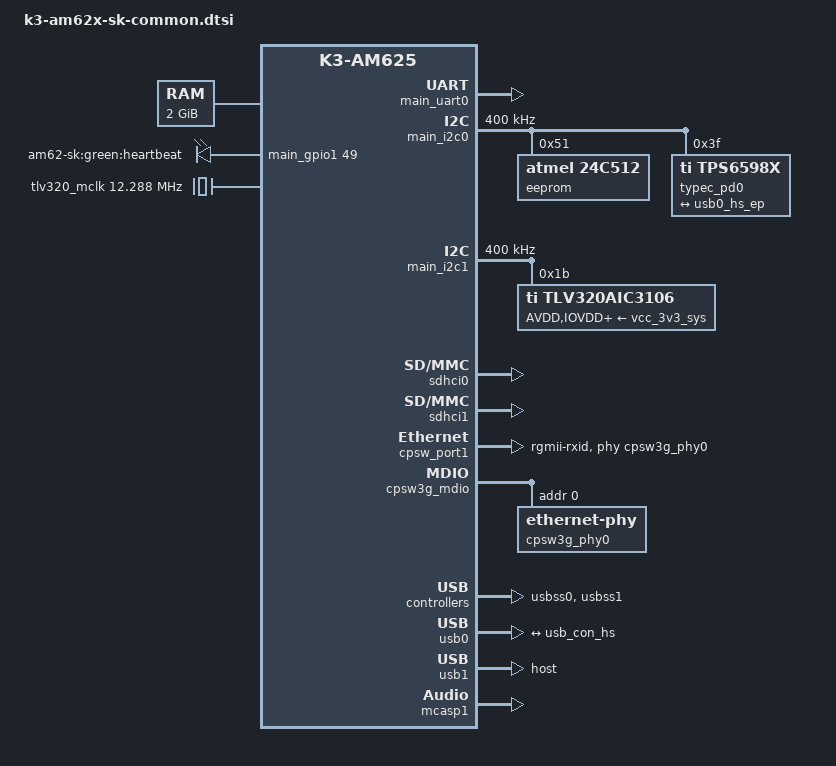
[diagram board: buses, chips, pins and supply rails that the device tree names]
// SPDX-License-Identifier: GPL-2.0
/*
 * Common dtsi for AM62x SK and derivatives
 *
 * Copyright (C) 2021-2023 Texas Instruments Incorporated - https://www.ti.com/
 */

#include <dt-bindings/leds/common.h>
#include <dt-bindings/gpio/gpio.h>
#include <dt-bindings/net/ti-dp83867.h>
#include "k3-am625.dtsi"

/ {
	aliases {
		serial2 = &main_uart0;
		mmc0 = &sdhci0;
		mmc1 = &sdhci1;
		mmc2 = &sdhci2;
		spi0 = &ospi0;
		ethernet0 = &cpsw_port1;
		ethernet1 = &cpsw_port2;
		usb0 = &usb0;
		usb1 = &usb1;
	};

	chosen {
		stdout-path = "serial2:115200n8";
	};

	memory@80000000 {
		device_type = "memory";
		/* 2G RAM */
		reg = <0x00000000 0x80000000 0x00000000 0x80000000>;
	};

	reserved-memory {
		#address-cells = <2>;
		#size-cells = <2>;
		ranges;

		ramoops@9ca00000 {
			compatible = "ramoops";
			reg = <0x00 0x9ca00000 0x00 0x00100000>;
			record-size = <0x8000>;
			console-size = <0x8000>;
			ftrace-size = <0x00>;
			pmsg-size = <0x8000>;
		};

		secure_tfa_ddr: tfa@9e780000 {
			reg = <0x00 0x9e780000 0x00 0x80000>;
			alignment = <0x1000>;
			no-map;
		};

		secure_ddr: optee@9e800000 {
			reg = <0x00 0x9e800000 0x00 0x01800000>; /* for OP-TEE */
			alignment = <0x1000>;
			no-map;
		};

		wkup_r5fss0_core0_dma_memory_region: r5f-dma-memory@9db00000 {
			compatible = "shared-dma-pool";
			reg = <0x00 0x9db00000 0x00 0xc00000>;
			no-map;
		};
	};

	leds {
		compatible = "gpio-leds";
		pinctrl-names = "default";
		pinctrl-0 = <&usr_led_pins_default>;

		led-0 {
			label = "am62-sk:green:heartbeat";
			gpios = <&main_gpio1 49 GPIO_ACTIVE_HIGH>;
			linux,default-trigger = "heartbeat";
			function = LED_FUNCTION_HEARTBEAT;
			default-state = "off";
		};
	};

	tlv320_mclk: clk-0 {
		#clock-cells = <0>;
		compatible = "fixed-clock";
		clock-frequency = <12288000>;
	};

	codec_audio: sound {
		compatible = "simple-audio-card";
		simple-audio-card,name = "AM62x-SKEVM";
		simple-audio-card,widgets =
			"Headphone",	"Headphone Jack",
			"Line",		"Line In",
			"Microphone",	"Microphone Jack";
		simple-audio-card,routing =
			"Headphone Jack",	"HPLOUT",
			"Headphone Jack",	"HPROUT",
			"LINE1L",		"Line In",
			"LINE1R",		"Line In",
			"MIC3R",		"Microphone Jack",
			"Microphone Jack",	"Mic Bias";
		simple-audio-card,format = "dsp_b";
		simple-audio-card,bitclock-master = <&sound_master>;
		simple-audio-card,frame-master = <&sound_master>;
		simple-audio-card,bitclock-inversion;

		simple-audio-card,cpu {
			sound-dai = <&mcasp1>;
		};

		sound_master: simple-audio-card,codec {
			sound-dai = <&tlv320aic3106>;
			clocks = <&tlv320_mclk>;
		};
	};
};

&main_pmx0 {
	/* First pad number is ALW package and second is AMC package */
	main_uart0_pins_default: main-uart0-default-pins {
		pinctrl-single,pins = <
			AM62X_IOPAD(0x1c8, PIN_INPUT, 0) /* (D14/A13) UART0_RXD */
			AM62X_IOPAD(0x1cc, PIN_OUTPUT, 0) /* (E14/E11) UART0_TXD */
		>;
	};

	main_uart1_pins_default: main-uart1-default-pins {
		pinctrl-single,pins = <
			AM62X_IOPAD(0x194, PIN_INPUT, 2) /* (B19/B18) MCASP0_AXR3.UART1_CTSn */
			AM62X_IOPAD(0x198, PIN_OUTPUT, 2) /* (A19/B17) MCASP0_AXR2.UART1_RTSn */
			AM62X_IOPAD(0x1ac, PIN_INPUT, 2) /* (E19/D15) MCASP0_AFSR.UART1_RXD */
			AM62X_IOPAD(0x1b0, PIN_OUTPUT, 2) /* (A20/D16) MCASP0_ACLKR.UART1_TXD */
		>;
	};

	main_i2c0_pins_default: main-i2c0-default-pins {
		pinctrl-single,pins = <
			AM62X_IOPAD(0x1e0, PIN_INPUT_PULLUP, 0) /* (B16/E12) I2C0_SCL */
			AM62X_IOPAD(0x1e4, PIN_INPUT_PULLUP, 0) /* (A16/D14) I2C0_SDA */
		>;
	};

	main_i2c1_pins_default: main-i2c1-default-pins {
		pinctrl-single,pins = <
			AM62X_IOPAD(0x1e8, PIN_INPUT_PULLUP, 0) /* (B17/A17) I2C1_SCL */
			AM62X_IOPAD(0x1ec, PIN_INPUT_PULLUP, 0) /* (A17/A16) I2C1_SDA */
		>;
	};

	main_i2c2_pins_default: main-i2c2-default-pins {
		pinctrl-single,pins = <
			AM62X_IOPAD(0x0b0, PIN_INPUT_PULLUP, 1) /* (K22/H18) GPMC0_CSn2.I2C2_SCL */
			AM62X_IOPAD(0x0b4, PIN_INPUT_PULLUP, 1) /* (K24/H19) GPMC0_CSn3.I2C2_SDA */
		>;
	};

	main_mmc0_pins_default: main-mmc0-default-pins {
		pinctrl-single,pins = <
			AM62X_IOPAD(0x220, PIN_INPUT, 0) /* (Y3/V3) MMC0_CMD */
			AM62X_IOPAD(0x218, PIN_INPUT, 0) /* (AB1/Y1) MMC0_CLK */
			AM62X_IOPAD(0x214, PIN_INPUT, 0) /* (AA2/V2) MMC0_DAT0 */
			AM62X_IOPAD(0x210, PIN_INPUT, 0) /* (AA1/V1) MMC0_DAT1 */
			AM62X_IOPAD(0x20c, PIN_INPUT, 0) /* (AA3/W2) MMC0_DAT2 */
			AM62X_IOPAD(0x208, PIN_INPUT, 0) /* (Y4/W1) MMC0_DAT3 */
			AM62X_IOPAD(0x204, PIN_INPUT, 0) /* (AB2/Y2) MMC0_DAT4 */
			AM62X_IOPAD(0x200, PIN_INPUT, 0) /* (AC1/W3) MMC0_DAT5 */
			AM62X_IOPAD(0x1fc, PIN_INPUT, 0) /* (AD2/W4) MMC0_DAT6 */
			AM62X_IOPAD(0x1f8, PIN_INPUT, 0) /* (AC2/V4) MMC0_DAT7 */
		>;
	};

	main_mmc1_pins_default: main-mmc1-default-pins {
		pinctrl-single,pins = <
			AM62X_IOPAD(0x23c, PIN_INPUT, 0) /* (A21/C18) MMC1_CMD */
			AM62X_IOPAD(0x234, PIN_INPUT, 0) /* (B22/A20) MMC1_CLK */
			AM62X_IOPAD(0x230, PIN_INPUT, 0) /* (A22/A19) MMC1_DAT0 */
			AM62X_IOPAD(0x22c, PIN_INPUT, 0) /* (B21/B19) MMC1_DAT1 */
			AM62X_IOPAD(0x228, PIN_INPUT, 0) /* (C21/B20) MMC1_DAT2 */
			AM62X_IOPAD(0x224, PIN_INPUT, 0) /* (D22/C19) MMC1_DAT3 */
			AM62X_IOPAD(0x240, PIN_INPUT, 0) /* (D17/C15) MMC1_SDCD */
		>;
	};

	usr_led_pins_default: usr-led-default-pins {
		pinctrl-single,pins = <
			AM62X_IOPAD(0x244, PIN_OUTPUT, 7) /* (C17/B15) MMC1_SDWP.GPIO1_49 */
		>;
	};

	main_mdio1_pins_default: main-mdio1-default-pins {
		pinctrl-single,pins = <
			AM62X_IOPAD(0x160, PIN_OUTPUT, 0) /* (AD24/V17) MDIO0_MDC */
			AM62X_IOPAD(0x15c, PIN_INPUT, 0) /* (AB22/U16) MDIO0_MDIO */
		>;
	};

	main_rgmii1_pins_default: main-rgmii1-default-pins {
		pinctrl-single,pins = <
			AM62X_IOPAD(0x14c, PIN_INPUT, 0) /* (AB17/W15) RGMII1_RD0 */
			AM62X_IOPAD(0x150, PIN_INPUT, 0) /* (AC17/Y16) RGMII1_RD1 */
			AM62X_IOPAD(0x154, PIN_INPUT, 0) /* (AB16/AA17) RGMII1_RD2 */
			AM62X_IOPAD(0x158, PIN_INPUT, 0) /* (AA15/Y15) RGMII1_RD3 */
			AM62X_IOPAD(0x148, PIN_INPUT, 0) /* (AD17/AA16) RGMII1_RXC */
			AM62X_IOPAD(0x144, PIN_INPUT, 0) /* (AE17/W14) RGMII1_RX_CTL */
			AM62X_IOPAD(0x134, PIN_OUTPUT, 0) /* (AE20/U14) RGMII1_TD0 */
			AM62X_IOPAD(0x138, PIN_OUTPUT, 0) /* (AD20/AA19) RGMII1_TD1 */
			AM62X_IOPAD(0x13c, PIN_OUTPUT, 0) /* (AE18/Y17) RGMII1_TD2 */
			AM62X_IOPAD(0x140, PIN_OUTPUT, 0) /* (AD18/AA18) RGMII1_TD3 */
			AM62X_IOPAD(0x130, PIN_OUTPUT, 0) /* (AE19/W16) RGMII1_TXC */
			AM62X_IOPAD(0x12c, PIN_OUTPUT, 0) /* (AD19/V15) RGMII1_TX_CTL */
		>;
	};

	main_usb1_pins_default: main-usb1-default-pins {
		pinctrl-single,pins = <
			AM62X_IOPAD(0x0258, PIN_OUTPUT, 0) /* (F18/E16) USB1_DRVVBUS */
		>;
	};

	main_mcasp1_pins_default: main-mcasp1-default-pins {
		pinctrl-single,pins = <
			AM62X_IOPAD(0x090, PIN_INPUT, 2) /* (M24/K17) GPMC0_BE0N_CLE.MCASP1_ACLKX */
			AM62X_IOPAD(0x098, PIN_INPUT, 2) /* (U23/P21) GPMC0_WAIT0.MCASP1_AFSX */
			AM62X_IOPAD(0x08c, PIN_OUTPUT, 2) /* (L25/J17) GPMC0_WEN.MCASP1_AXR0 */
			AM62X_IOPAD(0x084, PIN_INPUT, 2) /* (L23/K20) GPMC0_ADVN_ALE.MCASP1_AXR2 */
		>;
	};
};

&mcu_pmx0 {
	wkup_uart0_pins_default: wkup-uart0-default-pins {
		pinctrl-single,pins = <
			AM62X_MCU_IOPAD(0x02c, PIN_INPUT, 0) /* (C6/A7) WKUP_UART0_CTSn */
			AM62X_MCU_IOPAD(0x030, PIN_OUTPUT, 0) /* (A4/B4) WKUP_UART0_RTSn */
			AM62X_MCU_IOPAD(0x024, PIN_INPUT, 0) /* (B4/B5) WKUP_UART0_RXD */
			AM62X_MCU_IOPAD(0x028, PIN_OUTPUT, 0) /* (C5/C6) WKUP_UART0_TXD */
		>;
	};
};

&wkup_uart0 {
	/* WKUP UART0 is used by DM firmware */
	status = "reserved";
	pinctrl-names = "default";
	pinctrl-0 = <&wkup_uart0_pins_default>;
};

&main_uart0 {
	status = "okay";
	pinctrl-names = "default";
	pinctrl-0 = <&main_uart0_pins_default>;
};

&main_uart1 {
	/* Main UART1 is used by TIFS firmware */
	status = "reserved";
	pinctrl-names = "default";
	pinctrl-0 = <&main_uart1_pins_default>;
};

&main_i2c0 {
	status = "okay";
	pinctrl-names = "default";
	pinctrl-0 = <&main_i2c0_pins_default>;
	clock-frequency = <400000>;

	eeprom@51 {
		/* AT24C512C-MAHM-T or M24512-DFMC6TG */
		compatible = "atmel,24c512";
		reg = <0x51>;
	};

	typec_pd0: tps6598x@3f {
		compatible = "ti,tps6598x";
		reg = <0x3f>;

		connector {
			compatible = "usb-c-connector";
			label = "USB-C";
			self-powered;
			data-role = "dual";
			power-role = "sink";
			ports {
				#address-cells = <1>;
				#size-cells = <0>;

				port@0 {
					reg = <0>;
					usb_con_hs: endpoint {
						remote-endpoint = <&usb0_hs_ep>;
					};
				};
			};
		};
	};
};

&main_i2c1 {
	status = "okay";
	pinctrl-names = "default";
	pinctrl-0 = <&main_i2c1_pins_default>;
	clock-frequency = <400000>;

	tlv320aic3106: audio-codec@1b {
		#sound-dai-cells = <0>;
		compatible = "ti,tlv320aic3106";
		reg = <0x1b>;
		ai3x-micbias-vg = <1>;	/* 2.0V */

		/* Regulators */
		AVDD-supply = <&vcc_3v3_sys>;
		IOVDD-supply = <&vcc_3v3_sys>;
		DRVDD-supply = <&vcc_3v3_sys>;
	};
};

&sdhci0 {
	status = "okay";
	pinctrl-names = "default";
	pinctrl-0 = <&main_mmc0_pins_default>;
	ti,driver-strength-ohm = <50>;
	disable-wp;
};

&sdhci1 {
	/* SD/MMC */
	status = "okay";
	pinctrl-names = "default";
	pinctrl-0 = <&main_mmc1_pins_default>;
	ti,driver-strength-ohm = <50>;
	disable-wp;
};

&cpsw3g {
	pinctrl-names = "default";
	pinctrl-0 = <&main_rgmii1_pins_default>;
};

&cpsw_port1 {
	phy-mode = "rgmii-rxid";
	phy-handle = <&cpsw3g_phy0>;
};

&cpsw3g_mdio {
	status = "okay";
	pinctrl-names = "default";
	pinctrl-0 = <&main_mdio1_pins_default>;

	cpsw3g_phy0: ethernet-phy@0 {
		reg = <0>;
		ti,rx-internal-delay = <DP83867_RGMIIDCTL_2_00_NS>;
		ti,fifo-depth = <DP83867_PHYCR_FIFO_DEPTH_4_B_NIB>;
		ti,min-output-impedance;
	};
};

&mailbox0_cluster0 {
	mbox_m4_0: mbox-m4-0 {
		ti,mbox-rx = <0 0 0>;
		ti,mbox-tx = <1 0 0>;
	};
};

&usbss0 {
	status = "okay";
	ti,vbus-divider;
};

&usbss1 {
	status = "okay";
	ti,vbus-divider;
};

&usb0 {
	#address-cells = <1>;
	#size-cells = <0>;
	usb-role-switch;

	port@0 {
		reg = <0>;
		usb0_hs_ep: endpoint {
		    remote-endpoint = <&usb_con_hs>;
	       };
	};
};

&usb1 {
	dr_mode = "host";
	pinctrl-names = "default";
	pinctrl-0 = <&main_usb1_pins_default>;
};

&mcasp1 {
	status = "okay";
	#sound-dai-cells = <0>;

	pinctrl-names = "default";
	pinctrl-0 = <&main_mcasp1_pins_default>;

	op-mode = <0>;          /* MCASP_IIS_MODE */
	tdm-slots = <2>;

	serial-dir = <  /* 0: INACTIVE, 1: TX, 2: RX */
	       1 0 2 0
	       0 0 0 0
	       0 0 0 0
	       0 0 0 0
	>;
	tx-num-evt = <32>;
	rx-num-evt = <32>;
};
